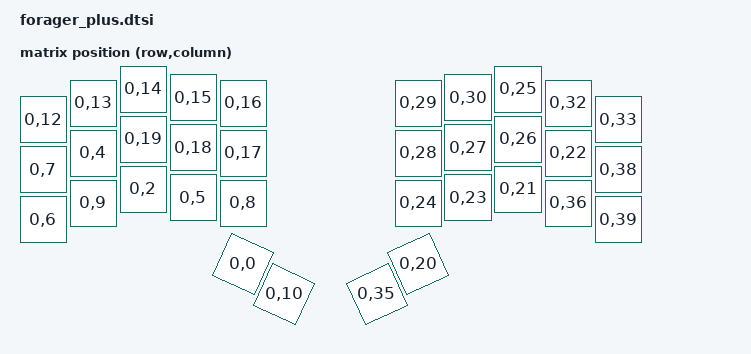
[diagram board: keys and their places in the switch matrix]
#include <dt-bindings/zmk/matrix_transform.h>
#include <physical_layouts.dtsi>

/ {
    chosen {
        zmk,physical-layout = &default_layout;
    };

    default_layout: default_layout {
        compatible = "zmk,physical-layout";
        display-name = "Default Layout";
        transform = <&default_transform>;

        keys  //                     w   h    x    y     rot    rx    ry
            = <&key_physical_attrs 100 100    0   61       0     0     0>
            , <&key_physical_attrs 100 100  100   28       0     0     0>
            , <&key_physical_attrs 100 100  200    0       0     0     0>
            , <&key_physical_attrs 100 100  300   17       0     0     0>
            , <&key_physical_attrs 100 100  400   28       0     0     0>
            , <&key_physical_attrs 100 100  750   28       0     0     0>
            , <&key_physical_attrs 100 100  850   17       0     0     0>
            , <&key_physical_attrs 100 100  950    0       0     0     0>
            , <&key_physical_attrs 100 100 1050   28       0     0     0>
            , <&key_physical_attrs 100 100 1150   61       0     0     0>
            , <&key_physical_attrs 100 100    0  161       0     0     0>
            , <&key_physical_attrs 100 100  100  128       0     0     0>
            , <&key_physical_attrs 100 100  200  100       0     0     0>
            , <&key_physical_attrs 100 100  300  117       0     0     0>
            , <&key_physical_attrs 100 100  400  128       0     0     0>
            , <&key_physical_attrs 100 100  750  128       0     0     0>
            , <&key_physical_attrs 100 100  850  117       0     0     0>
            , <&key_physical_attrs 100 100  950  100       0     0     0>
            , <&key_physical_attrs 100 100 1050  128       0     0     0>
            , <&key_physical_attrs 100 100 1150  161       0     0     0>
            , <&key_physical_attrs 100 100    0  261       0     0     0>
            , <&key_physical_attrs 100 100  100  228       0     0     0>
            , <&key_physical_attrs 100 100  200  200       0     0     0>
            , <&key_physical_attrs 100 100  300  217       0     0     0>
            , <&key_physical_attrs 100 100  400  228       0     0     0>
            , <&key_physical_attrs 100 100  750  228       0     0     0>
            , <&key_physical_attrs 100 100  850  217       0     0     0>
            , <&key_physical_attrs 100 100  950  200       0     0     0>
            , <&key_physical_attrs 100 100 1050  228       0     0     0>
            , <&key_physical_attrs 100 100 1150  261       0     0     0>
            , <&key_physical_attrs 100 100  400  350    2500   450   400>
            , <&key_physical_attrs 100 100  500  370    2500   450   400>
            , <&key_physical_attrs 100 100  650  370  (-2500)  800   400>
            , <&key_physical_attrs 100 100  750  350  (-2500)  800   400>
            ;
    };

    default_transform: keymap_transform_0 {
        compatible = "zmk,matrix-transform";
        columns = <10>;
        rows = <4>;

        map = <
            RC(0,12)        RC(0,13)        RC(0,14)        RC(0,15)        RC(0,16)                                        RC(0,29)        RC(0,30)        RC(0,25)        RC(0,32)        RC(0,33)
            RC(0,7)         RC(0,4)         RC(0,19)        RC(0,18)        RC(0,17)                                        RC(0,28)        RC(0,27)        RC(0,26)        RC(0,22)        RC(0,38)
            RC(0,6)         RC(0,9)         RC(0,2)         RC(0,5)         RC(0,8)                                         RC(0,24)        RC(0,23)        RC(0,21)        RC(0,36)        RC(0,39)
                                                                            RC(0,0)         RC(0,10)        RC(0,35)        RC(0,20)
        >;
    };
};

&xiao_serial {
    status = "disabled";
};
